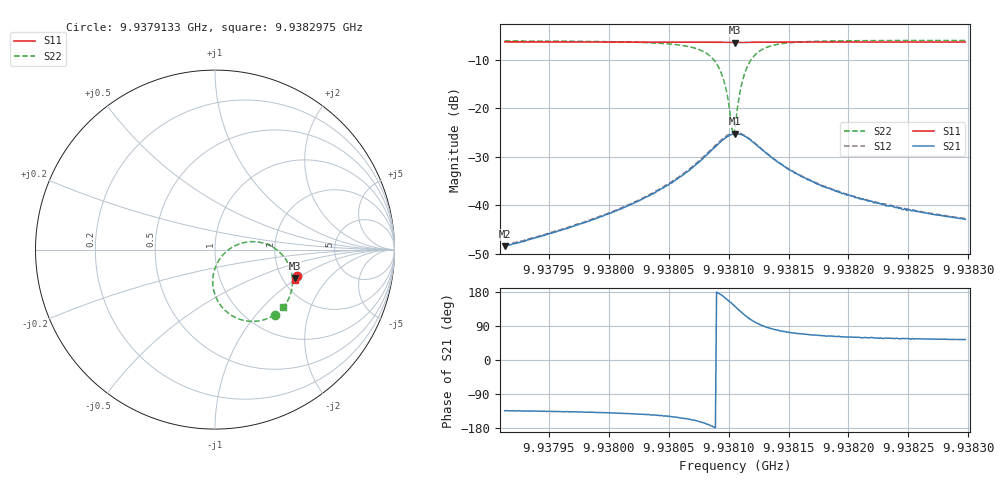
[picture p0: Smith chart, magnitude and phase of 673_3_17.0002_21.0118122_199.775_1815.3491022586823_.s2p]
#  HZ  S  RI  R  50.00
! Rohde & Schwarz Vector Network Analyzer
! Rohde-Schwarz,ZNB20-2Port,1311601062101988,3.16
! Created: UTC 3/20/2024, 11:22:15 PM
! freq[Hz]  re:S11  im:S11  re:S21  im:S21  re:S12  im:S12  re:S22  im:S22
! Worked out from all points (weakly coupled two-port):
!   401 points, 9.9379133 GHz to 9.9382975 GHz, reference 50 ohm
!   highest |S21| = -25.26 dB at 9.9381054 GHz (marker M1); lowest = -48.4 dB at 9.9379133 GHz (marker M2)
!   lowest |S11| = -6.5 dB at 9.9381054 GHz (marker M3), VSWR 2.80, Z = 117 - j47.6 ohm
!   |S11| at or under -10 dB: nowhere
!   |S22| runs from -25.5 to -6.1 dB; largest |S21 - S12| = 0.0026
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9.93791325e9  0.4575 -0.1485  -0.00263 -0.00272  -0.0027 -0.00274  0.3324 -0.363
9.93797761e9  0.4556 -0.1529  -0.00477 -0.0044  -0.00493 -0.00435  0.3094 -0.3763
9.93801123e9  0.4544 -0.1554  -0.0072 -0.00585  -0.00744 -0.00588  0.2863 -0.3864
9.93804197e9  0.4531 -0.1576  -0.0118 -0.00782  -0.0121 -0.00784  0.2442 -0.3975
9.93807079e9  0.4511 -0.1598  -0.0233 -0.00917  -0.0241 -0.00889  0.1486 -0.3917
9.93808616e9  0.4487 -0.1606  -0.0369 -0.00361  -0.038 -0.00281  0.0445 -0.3268
9.93809096e9  0.4481 -0.1604  -0.0421 0.00186  -0.0434 0.00294  0.00949 -0.2746
9.93809481e9  0.4473 -0.1602  -0.0459 0.00817  -0.047 0.01  -0.00953 -0.2153
9.93809865e9  0.4469 -0.1591  -0.0477 0.017  -0.0486 0.0193  -0.00952 -0.1413
9.93810249e9  0.4466 -0.1583  -0.0462 0.0268  -0.0464 0.0293  0.019 -0.0636
9.93810441e9  0.4467 -0.1578  -0.0441 0.0315  -0.044 0.0342  0.0448 -0.0287
9.93810537e9  0.4468 -0.1575  -0.0425 0.0342  -0.0422 0.0365  0.0608 -0.013
9.93810922e9  0.4475 -0.1568  -0.0348 0.0413  -0.0339 0.0435  0.1356 0.0316
9.9381121e9  0.4481 -0.1564  -0.0278 0.0445  -0.0264 0.0462  0.1961 0.0439
9.93811594e9  0.449 -0.1563  -0.0187 0.0456  -0.0174 0.0469  0.2696 0.0361
9.9381217e9  0.4502 -0.1568  -0.00786 0.0427  -0.00654 0.0435  0.3494 -0.00503
9.93812843e9  0.4512 -0.1576  -0.000123 0.0368  0.000726 0.0372  0.3997 -0.0629
9.93813707e9  0.4516 -0.159  0.00446 0.0298  0.00521 0.0301  0.4256 -0.1251
9.93816973e9  0.4515 -0.1625  0.00713 0.0161  0.00744 0.0161  0.4232 -0.2401
9.93819663e9  0.4506 -0.1649  0.00637 0.0115  0.00658 0.0113  0.4093 -0.2763
9.93823409e9  0.4495 -0.1676  0.0053 0.00824  0.00556 0.00824  0.3949 -0.3014
9.93829749e9  0.4476 -0.172  0.00419 0.00578  0.0044 0.00585  0.3794 -0.3223
